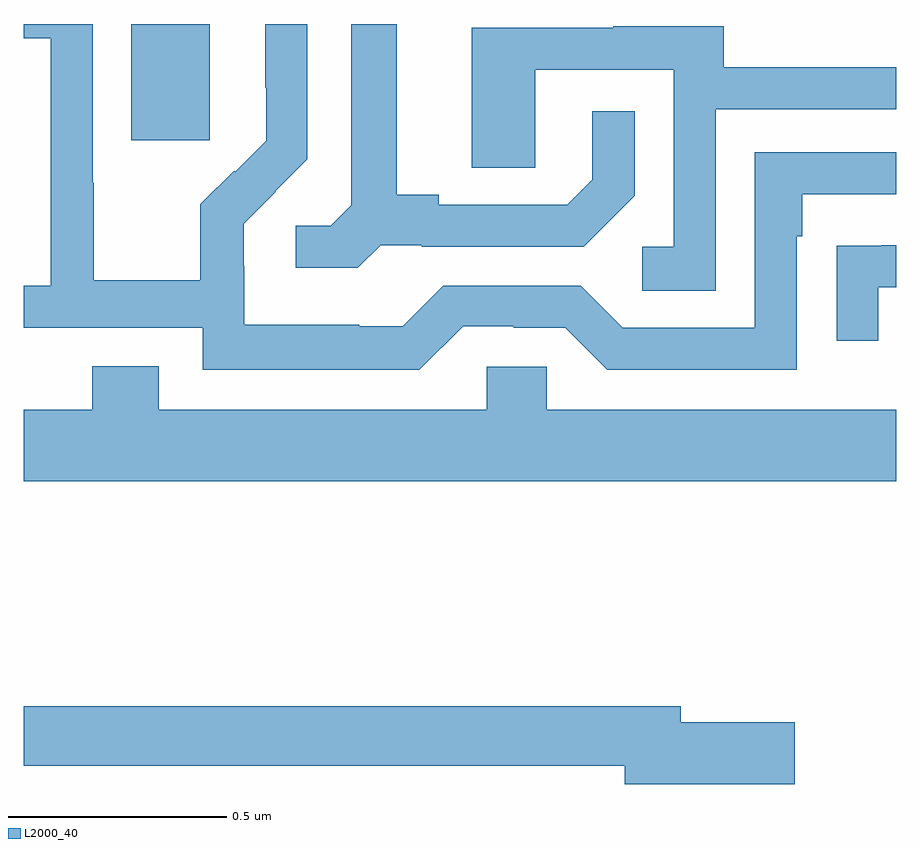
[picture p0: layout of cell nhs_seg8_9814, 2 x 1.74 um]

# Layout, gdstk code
import gdstk
lib = gdstk.Library(unit=1e-6, precision=1e-09)
def R(c, l, rs):  # rectangles x0, y0, x1, y1
    for r in rs: c.add(gdstk.rectangle(r[:2], r[2:], *l))
def P(c, l, *ps):  # polygons
    for p in ps: c.add(gdstk.Polygon(p, *l))
L2000_40 = (2000, 40)

nhs_seg8_9814 = lib.new_cell('nhs_seg8_9814')
R(nhs_seg8_9814, L2000_40, [(241.247,1098.633,241.426,1098.9)])
P(nhs_seg8_9814, L2000_40, [(242.007,1098.207),(242.123,1098.207),(242.123,1098.204),(242.241,1098.204),(242.337,1098.108),(242.772,1098.108),(242.772,1098.413),(242.785,1098.413),(242.785,1098.51),(243,1098.51),(243,1098.606),(242.676,1098.606),(242.676,1098.204),(242.373,1098.204),(242.277,1098.3),(241.962,1098.3),(241.869,1098.207),(241.769,1098.207),(241.769,1098.211),(241.506,1098.211),(241.506,1098.345),(241.504,1098.345),(241.504,1098.442),(241.578,1098.516),(241.577,1098.517),(241.65,1098.59),(241.65,1098.9),(241.554,1098.9),(241.554,1098.754),(241.556,1098.754),(241.556,1098.632),(241.485,1098.561),(241.482,1098.564),(241.405,1098.487),(241.405,1098.313),(241.161,1098.313),(241.161,1098.536),(241.158,1098.536),(241.158,1098.9),(241,1098.9),(241,1098.867),(241.062,1098.867),(241.062,1098.3),(241,1098.3),(241,1098.204),(241.41,1098.204),(241.41,1098.107),(241.907,1098.107)],
  [(241.818,1098.393),(241.912,1098.393),(241.912,1098.39),(242.284,1098.39),(242.4,1098.506),(242.4,1098.7),(242.303,1098.7),(242.303,1098.543),(242.246,1098.486),(241.951,1098.486),(241.951,1098.509),(241.855,1098.509),(241.855,1098.9),(241.751,1098.9),(241.751,1098.485),(241.704,1098.438),(241.623,1098.438),(241.623,1098.341),(241.766,1098.341)],
  [(242.586,1098.705),(243,1098.705),(243,1098.801),(242.605,1098.801),(242.605,1098.895),(242.351,1098.895),(242.351,1098.891),(242.027,1098.891),(242.027,1098.571),(242.172,1098.571),(242.172,1098.795),(242.49,1098.795),(242.49,1098.39),(242.418,1098.39),(242.418,1098.289),(242.586,1098.289)],
  [(242.959,1098.297),(243,1098.297),(243,1098.393),(242.965,1098.393),(242.965,1098.392),(242.863,1098.392),(242.863,1098.174),(242.959,1098.174)],
  [(243,1098.016),(242.199,1098.016),(242.199,1098.114),(242.061,1098.114),(242.061,1098.016),(241.309,1098.016),(241.309,1098.115),(241.157,1098.115),(241.157,1098.016),(241,1098.016),(241,1097.852),(243,1097.852)],
  [(242.767,1097.3),(242.506,1097.3),(242.506,1097.336),(241,1097.336),(241,1097.2),(242.378,1097.2),(242.378,1097.158),(242.767,1097.158)])

lib.write_gds('nhs_seg8_9814.gds')
